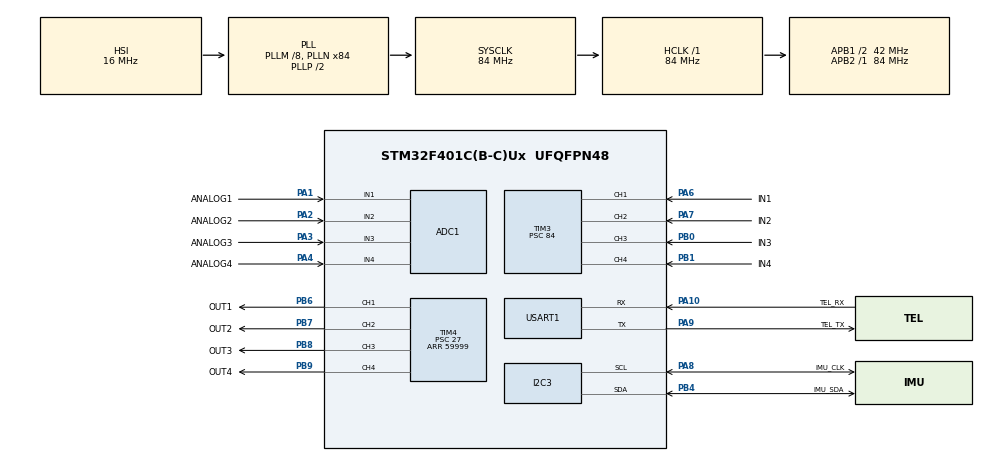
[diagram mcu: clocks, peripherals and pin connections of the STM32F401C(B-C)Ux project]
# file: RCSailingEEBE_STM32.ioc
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ADC1.Channel-0\#ChannelRegularConversion=ADC_CHANNEL_1
ADC1.Channel-1\#ChannelRegularConversion=ADC_CHANNEL_2
ADC1.Channel-2\#ChannelRegularConversion=ADC_CHANNEL_3
ADC1.Channel-3\#ChannelRegularConversion=ADC_CHANNEL_4
ADC1.DMAContinuousRequests=ENABLE
ADC1.EOCSelection=ADC_EOC_SEQ_CONV
ADC1.NbrOfConversion=4
ADC1.NbrOfConversionFlag=1
ADC1.Rank-0\#ChannelRegularConversion=1
ADC1.Rank-1\#ChannelRegularConversion=2
ADC1.Rank-2\#ChannelRegularConversion=3
ADC1.Rank-3\#ChannelRegularConversion=4
ADC1.SamplingTime-0\#ChannelRegularConversion=ADC_SAMPLETIME_480CYCLES
ADC1.SamplingTime-1\#ChannelRegularConversion=ADC_SAMPLETIME_480CYCLES
ADC1.SamplingTime-2\#ChannelRegularConversion=ADC_SAMPLETIME_480CYCLES
ADC1.SamplingTime-3\#ChannelRegularConversion=ADC_SAMPLETIME_480CYCLES
ADC1.ScanConvMode=ENABLE
ADC1.master=1
Dma.ADC1.0.Direction=DMA_PERIPH_TO_MEMORY
Dma.ADC1.0.FIFOMode=DMA_FIFOMODE_DISABLE
Dma.ADC1.0.Instance=DMA2_Stream0
Dma.ADC1.0.MemDataAlignment=DMA_MDATAALIGN_HALFWORD
Dma.ADC1.0.MemInc=DMA_MINC_ENABLE
Dma.ADC1.0.Mode=DMA_CIRCULAR
Dma.ADC1.0.PeriphDataAlignment=DMA_PDATAALIGN_HALFWORD
Dma.ADC1.0.PeriphInc=DMA_PINC_DISABLE
Dma.ADC1.0.Priority=DMA_PRIORITY_LOW
Dma.Request0=ADC1
Dma.Request1=USART1_RX
Dma.USART1_RX.1.Direction=DMA_PERIPH_TO_MEMORY
Dma.USART1_RX.1.FIFOMode=DMA_FIFOMODE_DISABLE
Dma.USART1_RX.1.Instance=DMA2_Stream2
Dma.USART1_RX.1.MemDataAlignment=DMA_MDATAALIGN_BYTE
Dma.USART1_RX.1.MemInc=DMA_MINC_ENABLE
Dma.USART1_RX.1.Mode=DMA_CIRCULAR
Dma.USART1_RX.1.PeriphDataAlignment=DMA_PDATAALIGN_BYTE
Dma.USART1_RX.1.PeriphInc=DMA_PINC_DISABLE
Dma.USART1_RX.1.Priority=DMA_PRIORITY_LOW
FREERTOS.Queues01=radioQueue,10,RadioData_t,0,Dynamic,NULL,NULL;adcQueue,10,AdcData_t,0,Dynamic,NULL,NULL;imuQueue,10,ImuData_t,0,Dynamic,NULL,NULL;controlQueue,10,ControlData_t,0,Dynamic,NULL,NULL;telemetryQueue,10,TelemetryData_t,0,Dynamic,NULL,NULL
FREERTOS.Tasks01=defaultTask,24,128,StartDefaultTask,Default,NULL,Dynamic,NULL,NULL;control_task,24,256,_control_task,Default,NULL,Dynamic,NULL,NULL;imu_read_task,33,512,_imu_read_task,Default,NULL,Dynamic,NULL,NULL;adc_read_task,24,128,_adc_read_task,Default,NULL,Dynamic,NULL,NULL;telemetry_task,32,512,_telemetry_task,Default,NULL,Dynamic,NULL,NULL
FREERTOS.configENABLE_FPU=1
FREERTOS.configGENERATE_RUN_TIME_STATS=1
FREERTOS.configQUEUE_REGISTRY_SIZE=16
FREERTOS.configRECORD_STACK_HIGH_ADDRESS=1
FREERTOS.configUSE_NEWLIB_REENTRANT=1
FREERTOS.configUSE_STATS_FORMATTING_FUNCTIONS=1
FREERTOS.configUSE_TICKLESS_IDLE=1
I2C3.I2C_Mode=I2C_Fast
Mcu.Family=STM32F4
Mcu.Name=STM32F401C(B-C)Ux
Mcu.Package=UFQFPN48
NVIC.DMA2_Stream0_IRQn=true\:5\:0\:false\:false\:true\:true\:false\:true\:true
NVIC.DMA2_Stream2_IRQn=true\:5\:0\:false\:false\:true\:true\:false\:true\:true
NVIC.PriorityGroup=NVIC_PRIORITYGROUP_4
NVIC.TIM1_TRG_COM_TIM11_IRQn=true\:5\:0\:false\:false\:true\:true\:true\:true\:true
NVIC.TIM1_UP_TIM10_IRQn=true\:15\:0\:false\:false\:true\:false\:false\:true\:true
NVIC.TIM3_IRQn=true\:5\:0\:false\:false\:true\:true\:true\:true\:true
NVIC.TimeBase=TIM1_UP_TIM10_IRQn
NVIC.TimeBaseIP=TIM10
PA1.GPIO_Label=ANALOG1
PA1.Signal=ADCx_IN1
PA10.GPIO_Label=TEL_RX
PA10.Mode=Asynchronous
PA10.Signal=USART1_RX
PA13.Mode=Trace_Asynchronous_SW
PA13.Signal=SYS_JTMS-SWDIO
PA14.Mode=Trace_Asynchronous_SW
PA14.Signal=SYS_JTCK-SWCLK
PA2.GPIO_Label=ANALOG2
PA2.Signal=ADCx_IN2
PA3.GPIO_Label=ANALOG3
PA3.Signal=ADCx_IN3
PA4.GPIO_Label=ANALOG4
PA4.Signal=ADCx_IN4
PA6.GPIO_Label=IN1
PA6.Signal=S_TIM3_CH1
PA7.GPIO_Label=IN2
PA7.Signal=S_TIM3_CH2
PA8.GPIO_Label=IMU_CLK
PA8.GPIO_Pu=GPIO_PULLUP
PA8.Mode=I2C
PA8.Signal=I2C3_SCL
PA9.GPIO_Label=TEL_TX
PA9.Mode=Asynchronous
PA9.Signal=USART1_TX
PB0.GPIO_Label=IN3
PB0.Signal=S_TIM3_CH3
PB1.GPIO_Label=IN4
PB1.Signal=S_TIM3_CH4
PB3.Mode=Trace_Asynchronous_SW
PB3.Signal=SYS_JTDO-SWO
PB4.GPIO_Label=IMU_SDA
PB4.GPIO_Pu=GPIO_PULLUP
PB4.Mode=I2C
PB4.Signal=I2C3_SDA
PB6.GPIO_Label=OUT1
PB6.GPIO_Speed=GPIO_SPEED_FREQ_VERY_HIGH
PB6.Signal=S_TIM4_CH1
PB7.GPIO_Label=OUT2
PB7.GPIO_Speed=GPIO_SPEED_FREQ_VERY_HIGH
PB7.Signal=S_TIM4_CH2
PB8.GPIO_Label=OUT3
PB8.GPIO_Speed=GPIO_SPEED_FREQ_VERY_HIGH
PB8.Signal=S_TIM4_CH3
PB9.GPIO_Label=OUT4
PB9.GPIO_Speed=GPIO_SPEED_FREQ_VERY_HIGH
PB9.Signal=S_TIM4_CH4
ProjectManager.HeapSize=0x200
ProjectManager.StackSize=0x400
ProjectManager.TargetToolchain=STM32CubeIDE
RCC.48MHZClocksFreq_Value=42000000
RCC.AHBFreq_Value=84000000
RCC.APB1CLKDivider=RCC_HCLK_DIV2
RCC.APB1Freq_Value=42000000
RCC.APB1TimFreq_Value=84000000
RCC.APB2Freq_Value=84000000
RCC.APB2TimFreq_Value=84000000
RCC.CortexFreq_Value=84000000
RCC.HCLKFreq_Value=84000000
RCC.HSE_VALUE=25000000
RCC.HSI_VALUE=16000000
RCC.LSE_VALUE=32768
RCC.PLLM=8
RCC.PLLN=84
RCC.SYSCLKFreq_VALUE=84000000
RCC.SYSCLKSource=RCC_SYSCLKSOURCE_PLLCLK
RCC.VCOOutputFreq_Value=168000000
SH.ADCx_IN1.0=ADC1_IN1,IN1
SH.ADCx_IN2.0=ADC1_IN2,IN2
SH.ADCx_IN3.0=ADC1_IN3,IN3
SH.ADCx_IN4.0=ADC1_IN4,IN4
SH.S_TIM3_CH1.0=TIM3_CH1,Input_Capture1_from_TI1
SH.S_TIM3_CH2.0=TIM3_CH2,Input_Capture2_from_TI2
SH.S_TIM3_CH3.0=TIM3_CH3,Input_Capture3_from_TI3
SH.S_TIM3_CH4.0=TIM3_CH4,Input_Capture4_from_TI4
SH.S_TIM4_CH1.0=TIM4_CH1,PWM Generation1 CH1
SH.S_TIM4_CH2.0=TIM4_CH2,PWM Generation2 CH2
SH.S_TIM4_CH3.0=TIM4_CH3,PWM Generation3 CH3
SH.S_TIM4_CH4.0=TIM4_CH4,PWM Generation4 CH4
TIM11.AutoReloadPreload=TIM_AUTORELOAD_PRELOAD_ENABLE
TIM11.Period=99
TIM11.Prescaler=84
TIM3.AutoReloadPreload=TIM_AUTORELOAD_PRELOAD_DISABLE
TIM3.Channel-Input_Capture1_from_TI1=TIM_CHANNEL_1
TIM3.Channel-Input_Capture2_from_TI2=TIM_CHANNEL_2
TIM3.Channel-Input_Capture3_from_TI3=TIM_CHANNEL_3
TIM3.Channel-Input_Capture4_from_TI4=TIM_CHANNEL_4
TIM3.ICFilter_CH1=8
TIM3.ICFilter_CH2=8
TIM3.ICFilter_CH3=8
TIM3.ICFilter_CH4=8
TIM3.ICPolarity_CH1=TIM_INPUTCHANNELPOLARITY_BOTHEDGE
TIM3.ICPolarity_CH2=TIM_INPUTCHANNELPOLARITY_BOTHEDGE
TIM3.ICPolarity_CH3=TIM_INPUTCHANNELPOLARITY_BOTHEDGE
TIM3.ICPolarity_CH4=TIM_INPUTCHANNELPOLARITY_BOTHEDGE
TIM3.Prescaler=84
TIM4.AutoReloadPreload=TIM_AUTORELOAD_PRELOAD_ENABLE
TIM4.Channel-PWM\ Generation1\ CH1=TIM_CHANNEL_1
TIM4.Channel-PWM\ Generation2\ CH2=TIM_CHANNEL_2
TIM4.Channel-PWM\ Generation3\ CH3=TIM_CHANNEL_3
TIM4.Channel-PWM\ Generation4\ CH4=TIM_CHANNEL_4
TIM4.Period=59999
TIM4.Prescaler=27
USART1.VirtualMode=VM_ASYNC
VP_FREERTOS_VS_CMSIS_V2.Mode=CMSIS_V2
VP_SYS_VS_tim10.Mode=TIM10
VP_TIM11_VS_ClockSourceINT.Mode=Enable_Timer
VP_TIM3_VS_ClockSourceINT.Mode=Internal
board=custom

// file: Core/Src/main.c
/* USER CODE BEGIN Header */
/**
  ******************************************************************************
  * @file           : main.c
  * @brief          : Main program body
  ******************************************************************************
  * @attention
  *
  * Copyright (c) 2025 STMicroelectronics.
  * All rights reserved.
  *
  * This software is licensed under terms that can be found in the LICENSE file
  * in the root directory of this software component.
  * If no LICENSE file comes with this software, it is provided AS-IS.
  *
  ******************************************************************************
  */
/* USER CODE END Header */
#include "main.h"
#include "cmsis_os.h"
#include "adc.h"
#include "dma.h"
#include "i2c.h"
#include "tim.h"
#include "usart.h"
#include "gpio.h"

void SystemClock_Config(void);
void MX_FREERTOS_Init(void);

int main(void)
{

  /* MCU Configuration--------------------------------------------------------*/

  /* Reset of all peripherals, Initializes the Flash interface and the Systick. */
	HAL_Init();

  /* Configure the system clock */
  SystemClock_Config();

  /* Initialize all configured peripherals */
  MX_GPIO_Init();
  MX_DMA_Init();
  MX_ADC1_Init();
  MX_TIM3_Init();
  MX_TIM4_Init();
  MX_USART1_UART_Init();
  MX_I2C3_Init();
  MX_TIM11_Init();

  /* Init scheduler */
  osKernelInitialize();

  /* Call init function for freertos objects (in cmsis_os2.c) */
  MX_FREERTOS_Init();

  /* Start scheduler */
  osKernelStart();

  /* We should never get here as control is now taken by the scheduler */

  /* Infinite loop */
  while (1)
  {

  }
}

void SystemClock_Config(void)
{
  RCC_OscInitTypeDef RCC_OscInitStruct = {0};
  RCC_ClkInitTypeDef RCC_ClkInitStruct = {0};

  /** Configure the main internal regulator output voltage
  */
  __HAL_RCC_PWR_CLK_ENABLE();
  __HAL_PWR_VOLTAGESCALING_CONFIG(PWR_REGULATOR_VOLTAGE_SCALE2);

  /** Initializes the RCC Oscillators according to the specified parameters
  * in the RCC_OscInitTypeDef structure.
  */
  RCC_OscInitStruct.OscillatorType = RCC_OSCILLATORTYPE_HSI;
  RCC_OscInitStruct.HSIState = RCC_HSI_ON;
  RCC_OscInitStruct.HSICalibrationValue = RCC_HSICALIBRATION_DEFAULT;
  RCC_OscInitStruct.PLL.PLLState = RCC_PLL_ON;
  RCC_OscInitStruct.PLL.PLLSource = RCC_PLLSOURCE_HSI;
  RCC_OscInitStruct.PLL.PLLM = 8;
  RCC_OscInitStruct.PLL.PLLN = 84;
  RCC_OscInitStruct.PLL.PLLP = RCC_PLLP_DIV2;
  RCC_OscInitStruct.PLL.PLLQ = 4;
  if (HAL_RCC_OscConfig(&RCC_OscInitStruct) != HAL_OK)
  {
    Error_Handler();
  }

  /** Initializes the CPU, AHB and APB buses clocks
  */
  RCC_ClkInitStruct.ClockType = RCC_CLOCKTYPE_HCLK|RCC_CLOCKTYPE_SYSCLK
                              |RCC_CLOCKTYPE_PCLK1|RCC_CLOCKTYPE_PCLK2;
  RCC_ClkInitStruct.SYSCLKSource = RCC_SYSCLKSOURCE_PLLCLK;
  RCC_ClkInitStruct.AHBCLKDivider = RCC_SYSCLK_DIV1;
  RCC_ClkInitStruct.APB1CLKDivider = RCC_HCLK_DIV2;
  RCC_ClkInitStruct.APB2CLKDivider = RCC_HCLK_DIV1;

  if (HAL_RCC_ClockConfig(&RCC_ClkInitStruct, FLASH_LATENCY_2) != HAL_OK)
  {
    Error_Handler();
  }
}

void HAL_TIM_PeriodElapsedCallback(TIM_HandleTypeDef *htim)
{
  if (htim->Instance == TIM10)
  {
    HAL_IncTick();
  }
}

void Error_Handler(void)
{
  __disable_irq();
  while (1)
  {
  }
}

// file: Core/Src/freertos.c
/* USER CODE BEGIN Header */
/**
  ******************************************************************************
  * File Name          : freertos.c
  * Description        : Code for freertos applications
  ******************************************************************************
  * @attention
  *
  * Copyright (c) 2025 STMicroelectronics.
  * All rights reserved.
  *
  * This software is licensed under terms that can be found in the LICENSE file
  * in the root directory of this software component.
  * If no LICENSE file comes with this software, it is provided AS-IS.
  *
  ******************************************************************************
  */
/* USER CODE END Header */

#include "FreeRTOS.h"
#include "task.h"
#include "main.h"
#include "cmsis_os.h"

/* USER CODE BEGIN Includes */
#include "CONTROL.h"
#include "ANALOG.h"
#include "IMU.h"
#include "TELEMETRY.h"

#include "tim.h"
#include "stm32f4xx_it.h"
#include "queue.h"
#include "adc.h"
#include "i2c.h"

/* USER CODE END Includes */

/* USER CODE BEGIN PD */
#define INCLUDE_vTaskList       1

/* USER CODE END PD */

/* USER CODE BEGIN Variables */
uint32_t idle_dummy, control_dummy, telemetry_dummy, imu_dummy, adc_dummy;
/* USER CODE END Variables */
/* Definitions for defaultTask */
osThreadId_t defaultTaskHandle;
const osThreadAttr_t defaultTask_attributes = {
  .name = "defaultTask",
  .stack_size = 128 * 4,
  .priority = (osPriority_t) osPriorityNormal,
};
/* Definitions for control_task */
osThreadId_t control_taskHandle;
const osThreadAttr_t control_task_attributes = {
  .name = "control_task",
  .stack_size = 256 * 4,
  .priority = (osPriority_t) osPriorityNormal,
};
/* Definitions for imu_read_task */
osThreadId_t imu_read_taskHandle;
const osThreadAttr_t imu_read_task_attributes = {
  .name = "imu_read_task",
  .stack_size = 512 * 4,
  .priority = (osPriority_t) osPriorityAboveNormal1,
};
/* Definitions for adc_read_task */
osThreadId_t adc_read_taskHandle;
const osThreadAttr_t adc_read_task_attributes = {
  .name = "adc_read_task",
  .stack_size = 128 * 4,
  .priority = (osPriority_t) osPriorityNormal,
};
/* Definitions for telemetry_task */
osThreadId_t telemetry_taskHandle;
const osThreadAttr_t telemetry_task_attributes = {
  .name = "telemetry_task",
  .stack_size = 512 * 4,
  .priority = (osPriority_t) osPriorityAboveNormal,
};
/* Definitions for radioQueue */
osMessageQueueId_t radioQueueHandle;
const osMessageQueueAttr_t radioQueue_attributes = {
  .name = "radioQueue"
};
/* Definitions for adcQueue */
osMessageQueueId_t adcQueueHandle;
const osMessageQueueAttr_t adcQueue_attributes = {
  .name = "adcQueue"
};
/* Definitions for imuQueue */
osMessageQueueId_t imuQueueHandle;
const osMessageQueueAttr_t imuQueue_attributes = {
  .name = "imuQueue"
};
/* Definitions for controlQueue */
osMessageQueueId_t controlQueueHandle;
const osMessageQueueAttr_t controlQueue_attributes = {
  .name = "controlQueue"
};
/* Definitions for telemetryQueue */
osMessageQueueId_t telemetryQueueHandle;
const osMessageQueueAttr_t telemetryQueue_attributes = {
  .name = "telemetryQueue"
};

void StartDefaultTask(void *argument);
void _control_task(void *argument);
void _imu_read_task(void *argument);
void _adc_read_task(void *argument);
void _telemetry_task(void *argument);

void MX_FREERTOS_Init(void); /* (MISRA C 2004 rule 8.1) */

/* Hook prototypes */
void configureTimerForRunTimeStats(void);
unsigned long getRunTimeCounterValue(void);

/* USER CODE BEGIN 1 */
/* Functions needed when configGENERATE_RUN_TIME_STATS is on */
__weak void configureTimerForRunTimeStats(void)
{
    HAL_TIM_Base_Start_IT(&htim11);
    CoreDebug->DEMCR |= CoreDebug_DEMCR_TRCENA_Msk;

    DWT->CTRL |= 1;
    DWT->CYCCNT = 0;
}

extern volatile unsigned long ulHighFrequencyTimerTicks;
__weak unsigned long getRunTimeCounterValue(void)
{
    return ulHighFrequencyTimerTicks;
}
/* USER CODE END 1 */

/* USER CODE BEGIN PREPOSTSLEEP */
__weak void PreSleepProcessing(uint32_t ulExpectedIdleTime)
{
/* place for user code */
}

__weak void PostSleepProcessing(uint32_t ulExpectedIdleTime)
{
/* place for user code */
}
/* USER CODE END PREPOSTSLEEP */

void MX_FREERTOS_Init(void) {
  /* USER CODE BEGIN Init */

    // Start all 4 input captures
    HAL_TIM_IC_Start_IT(&htim3, TIM_CHANNEL_1);
    HAL_TIM_IC_Start_IT(&htim3, TIM_CHANNEL_2);
    HAL_TIM_IC_Start_IT(&htim3, TIM_CHANNEL_3);
    HAL_TIM_IC_Start_IT(&htim3, TIM_CHANNEL_4);

    HAL_TIM_PWM_Start(&htim4, TIM_CHANNEL_1);
    HAL_TIM_PWM_Start(&htim4, TIM_CHANNEL_2);
    HAL_TIM_PWM_Start(&htim4, TIM_CHANNEL_3);
    HAL_TIM_PWM_Start(&htim4, TIM_CHANNEL_4);

  /* USER CODE END Init */

  /* Create the queue(s) */
  /* creation of radioQueue */
  radioQueueHandle = osMessageQueueNew (10, sizeof(RadioData_t), &radioQueue_attributes);

  /* creation of adcQueue */
  adcQueueHandle = osMessageQueueNew (10, sizeof(AdcData_t), &adcQueue_attributes);

  /* creation of imuQueue */
  imuQueueHandle = osMessageQueueNew (10, sizeof(ImuData_t), &imuQueue_attributes);

  /* creation of controlQueue */
  controlQueueHandle = osMessageQueueNew (10, sizeof(ControlData_t), &controlQueue_attributes);

  /* creation of telemetryQueue */
  telemetryQueueHandle = osMessageQueueNew (10, sizeof(TelemetryData_t), &telemetryQueue_attributes);

  /* USER CODE BEGIN RTOS_QUEUES */
  /* add queues, ... */

  // Allowing the kernel-aware debugger to get to know our queues
  vQueueAddToRegistry( radioQueueHandle, "radioQueue" );
  vQueueAddToRegistry( adcQueueHandle, "adcQueue" );
  vQueueAddToRegistry( imuQueueHandle, "imuQueue" );
  vQueueAddToRegistry( controlQueueHandle, "controlQueue" );
  vQueueAddToRegistry( telemetryQueueHandle, "telemetryQueue" );
  /* USER CODE END RTOS_QUEUES */

  /* Create the thread(s) */
  /* creation of defaultTask */
  defaultTaskHandle = osThreadNew(StartDefaultTask, NULL, &defaultTask_attributes);

  /* creation of control_task */
  control_taskHandle = osThreadNew(_control_task, NULL, &control_task_attributes);

  /* creation of imu_read_task */
  imu_read_taskHandle = osThreadNew(_imu_read_task, NULL, &imu_read_task_attributes);

  /* creation of adc_read_task */
  adc_read_taskHandle = osThreadNew(_adc_read_task, NULL, &adc_read_task_attributes);

  /* creation of telemetry_task */
  telemetry_taskHandle = osThreadNew(_telemetry_task, NULL, &telemetry_task_attributes);

}

void StartDefaultTask(void *argument)
{
  /* USER CODE BEGIN StartDefaultTask */
  /* Infinite loop */
  for(;;)
  {
    idle_dummy++; // Keep incrementing the dummy variable
    osDelay(1); // A small delay to avoid task starvation
  }
  /* USER CODE END StartDefaultTask */
}

/* USER CODE BEGIN Header__control_task */
int TASK_DELAY = 20;

/**
* @brief Function implementing the control_task thread.
* @param argument: Not used
* @retval None
*/
/* USER CODE END Header__control_task */
void _control_task(void *argument)
{
  /* USER CODE BEGIN _control_task */
  for(;;)
  {
    control_dummy++;
    control(); // Execute control function
    osDelay(TASK_DELAY);
  }
  /* USER CODE END _control_task */
}

void _imu_read_task(void *argument)
{
  /* USER CODE BEGIN _imu_read_task */
  for(;;)
  {
    imu_dummy++;
    imu_read(); // Execute imu read function
    osDelay(TASK_DELAY);
  }
  /* USER CODE END _imu_read_task */
}

void _adc_read_task(void *argument)
{
  /* USER CODE BEGIN _adc_read_task */
  for(;;)
  {
    adc_dummy++;
    adc_read(); // Execute ADC read function
    osDelay(TASK_DELAY);
  }
  /* USER CODE END _adc_read_task */
}

void _telemetry_task(void *argument)
{
  /* USER CODE BEGIN _telemetry_task */
  for(;;)
  {
    telemetry_dummy++;
    telemetry(); // Execute telemetry function
    osDelay(TASK_DELAY);
  }
  /* USER CODE END _telemetry_task */
}
